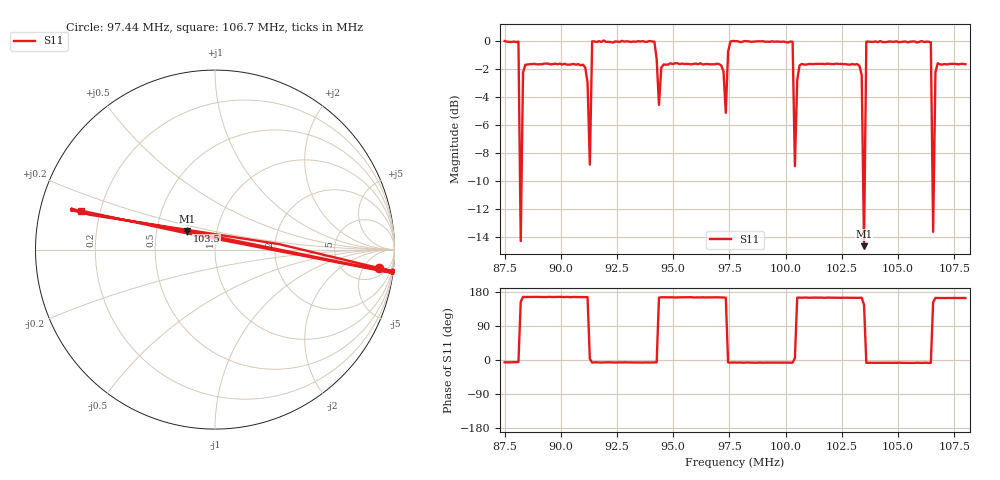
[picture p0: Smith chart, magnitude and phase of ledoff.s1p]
!Agilent Technologies,N5225A,MY51441201,A.09.90.19
!Agilent N5225A: A.09.90.19
!Date: Wednesday, April 25, 2018 13:02:44
!Correction: S11(Full 1 Port(1))
!S1P File: Measurement: S11:
# Hz S  dB  R 50
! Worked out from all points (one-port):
!   201 points, 87.5 MHz to 108 MHz, reference 50 ohm
!   lowest |S11| = -14.6 dB at 103.5 MHz (marker M1), VSWR 1.46, Z = 36 + j7.78 ohm
!   |S11| at or under -10 dB: 88.18687 MHz to 88.25377 MHz (66.9 kHz wide, 0.0758 % of centre); 103.4512 MHz to 103.5224 MHz (71.2 kHz wide, 0.0688 % of centre); 106.5377 MHz to 106.5973 MHz (59.6 kHz wide, 0.0559 % of centre)
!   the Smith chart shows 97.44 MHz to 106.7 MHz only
!   S11 on the Smith chart (normalised r, x): 97.44 MHz: 9, -11; 103.5 MHz: 0.72, +0.16; 106.7 MHz: 0.13, +0.14
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8.75e7  0.02 -6.0
8.8115e7  -0.02 -5.4
8.82175e7  -14.26 153.7
8.832e7  -2.23 166.6
9.00625e7  -1.66 166.2
9.119e7  -2.93 166.0
9.1395e7  -0.00 -6.7
9.2625e7  -0.04 -6.2
9.41625e7  -0.02 -6.5
9.4265e7  -1.25 -6.2
9.447e7  -1.88 165.5
9.51875e7  -1.56 165.3
9.72375e7  -2.13 164.9
9.734e7  -5.10 164.4
9.74425e7  -0.73 -6.4
9.775e7  0.02 -6.5
1.003125e8  -0.03 -7.0
1.005175e8  -2.77 164.5
1.0062e8  -1.73 164.6
1.02875e8  -1.66 164.3
1.033875e8  -2.41 164.3
1.0349e8  -14.62 145.8
1.035925e8  -0.01 -7.4
1.054375e8  -0.08 -7.6
1.064625e8  -0.07 -7.5
1.06565e8  -13.60 152.5
1.066675e8  -2.20 163.8
1.08e8  -1.63 163.4
